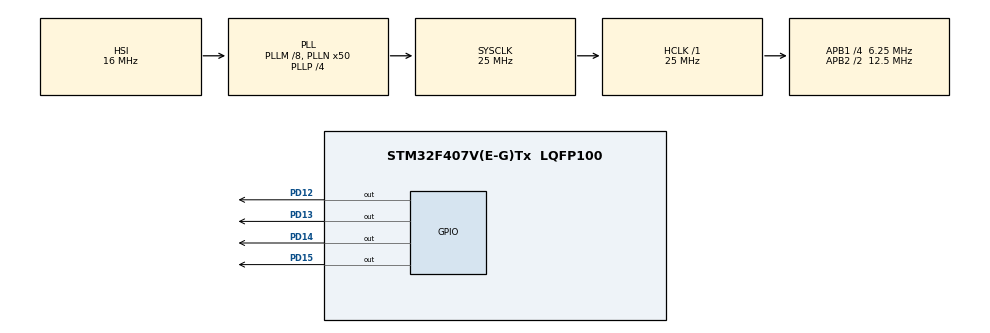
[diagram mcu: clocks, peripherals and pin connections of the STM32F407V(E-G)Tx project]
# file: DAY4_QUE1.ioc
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FREERTOS.INCLUDE_vTaskDelayUntil=1
FREERTOS.Tasks01=defaultTask,-3,128,StartDefaultTask,Default,NULL,Dynamic,NULL,NULL
FREERTOS.configUSE_NEWLIB_REENTRANT=1
Mcu.Family=STM32F4
Mcu.Name=STM32F407V(E-G)Tx
Mcu.Package=LQFP100
NVIC.PriorityGroup=NVIC_PRIORITYGROUP_4
NVIC.TIM1_UP_TIM10_IRQn=true\:15\:0\:false\:false\:true\:false\:false\:true\:true
NVIC.TimeBase=TIM1_UP_TIM10_IRQn
NVIC.TimeBaseIP=TIM1
PD12.Signal=GPIO_Output
PD13.Signal=GPIO_Output
PD14.Signal=GPIO_Output
PD15.Signal=GPIO_Output
ProjectManager.HeapSize=0x200
ProjectManager.StackSize=0x400
ProjectManager.TargetToolchain=STM32CubeIDE
RCC.48MHZClocksFreq_Value=14285714.285714285
RCC.AHBFreq_Value=25000000
RCC.APB1CLKDivider=RCC_HCLK_DIV4
RCC.APB1Freq_Value=6250000
RCC.APB1TimFreq_Value=12500000
RCC.APB2CLKDivider=RCC_HCLK_DIV2
RCC.APB2Freq_Value=12500000
RCC.APB2TimFreq_Value=25000000
RCC.CortexFreq_Value=25000000
RCC.HCLKFreq_Value=25000000
RCC.HSE_VALUE=8000000
RCC.HSI_VALUE=16000000
RCC.LSE_VALUE=32768
RCC.PLLM=8
RCC.PLLN=50
RCC.PLLP=RCC_PLLP_DIV4
RCC.PLLQ=7
RCC.SYSCLKFreq_VALUE=25000000
RCC.SYSCLKSource=RCC_SYSCLKSOURCE_PLLCLK
RCC.VCOOutputFreq_Value=100000000
VP_FREERTOS_VS_CMSIS_V1.Mode=CMSIS_V1
VP_SYS_VS_tim1.Mode=TIM1
board=STM32F407G-DISC1

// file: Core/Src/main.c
/* USER CODE BEGIN Header */
/**
 ******************************************************************************
 * @file           : main.c
 * @brief          : Main program body
 ******************************************************************************
 * @attention
 *
 * Copyright (c) 2024 STMicroelectronics.
 * All rights reserved.
 *
 * This software is licensed under terms that can be found in the LICENSE file
 * in the root directory of this software component.
 * If no LICENSE file comes with this software, it is provided AS-IS.
 *
 ******************************************************************************
 */
/* USER CODE END Header */
#include "main.h"
#include "cmsis_os.h"

osThreadId defaultTaskHandle;

void SystemClock_Config(void);
static void MX_GPIO_Init(void);
void StartDefaultTask(void const * argument);

/* USER CODE BEGIN 0 */

void vLedTask1(void *pvParam){

	while(1){

		HAL_GPIO_TogglePin(GPIOD,GPIO_PIN_12);
		vTaskDelay(1000/portTICK_RATE_MS);

	}
	vTaskDelete(NULL);

}

void vLedTask2(void *pvParam){

	while(1){

		HAL_GPIO_TogglePin(GPIOD,GPIO_PIN_13);
		vTaskDelay(2000/portTICK_RATE_MS);

	}
	vTaskDelete(NULL);

}

void vLedTask3(void *pvParam){

	while(1){

		HAL_GPIO_TogglePin(GPIOD,GPIO_PIN_14);
		vTaskDelay(3000/portTICK_RATE_MS);

	}
	vTaskDelete(NULL);

}

void vLedTask4(void *pvParam){

	while(1){

		HAL_GPIO_TogglePin(GPIOD,GPIO_PIN_15);
		vTaskDelay(4000/portTICK_RATE_MS);

	}
	vTaskDelete(NULL);

}
/* USER CODE END 0 */

int main(void)
{

	/* USER CODE BEGIN 1 */
	BaseType_t xRet;
	/* USER CODE END 1 */

	/* MCU Configuration--------------------------------------------------------*/

	/* Reset of all peripherals, Initializes the Flash interface and the Systick. */
	HAL_Init();

	/* Configure the system clock */
	SystemClock_Config();

	/* Initialize all configured peripherals */
	MX_GPIO_Init();

	/* Create the thread(s) */
	/* definition and creation of defaultTask */
	osThreadDef(defaultTask, StartDefaultTask, osPriorityIdle, 0, 128);
	defaultTaskHandle = osThreadCreate(osThread(defaultTask), NULL);

	/* USER CODE BEGIN RTOS_THREADS */
	/* add threads, ... */

	xRet = xTaskCreate(vLedTask1,"LED 1", configMINIMAL_STACK_SIZE, NULL, 1, NULL);
	if(xRet != pdTRUE)
		Error_Handler();

	xRet = xTaskCreate(vLedTask2,"LED 2", configMINIMAL_STACK_SIZE, NULL, 2, NULL);
	if(xRet != pdTRUE)
		Error_Handler();

	xRet = xTaskCreate(vLedTask3,"LED3", configMINIMAL_STACK_SIZE, NULL, 3, NULL);
	if(xRet != pdTRUE)
		Error_Handler();

	xRet = xTaskCreate(vLedTask4,"LED 4", configMINIMAL_STACK_SIZE, NULL, 1, NULL);
	if(xRet != pdTRUE)
		Error_Handler();
	/* USER CODE END RTOS_THREADS */

	/* Start scheduler */
	osKernelStart();

	/* We should never get here as control is now taken by the scheduler */

	/* Infinite loop */
	while (1)
	{

	}
}

void SystemClock_Config(void)
{
	RCC_OscInitTypeDef RCC_OscInitStruct = {0};
	RCC_ClkInitTypeDef RCC_ClkInitStruct = {0};

	/** Configure the main internal regulator output voltage
	 */
	__HAL_RCC_PWR_CLK_ENABLE();
	__HAL_PWR_VOLTAGESCALING_CONFIG(PWR_REGULATOR_VOLTAGE_SCALE1);

	/** Initializes the RCC Oscillators according to the specified parameters
	 * in the RCC_OscInitTypeDef structure.
	 */
	RCC_OscInitStruct.OscillatorType = RCC_OSCILLATORTYPE_HSI;
	RCC_OscInitStruct.HSIState = RCC_HSI_ON;
	RCC_OscInitStruct.HSICalibrationValue = RCC_HSICALIBRATION_DEFAULT;
	RCC_OscInitStruct.PLL.PLLState = RCC_PLL_ON;
	RCC_OscInitStruct.PLL.PLLSource = RCC_PLLSOURCE_HSI;
	RCC_OscInitStruct.PLL.PLLM = 8;
	RCC_OscInitStruct.PLL.PLLN = 50;
	RCC_OscInitStruct.PLL.PLLP = RCC_PLLP_DIV4;
	RCC_OscInitStruct.PLL.PLLQ = 7;
	if (HAL_RCC_OscConfig(&RCC_OscInitStruct) != HAL_OK)
	{
		Error_Handler();
	}

	/** Initializes the CPU, AHB and APB buses clocks
	 */
	RCC_ClkInitStruct.ClockType = RCC_CLOCKTYPE_HCLK|RCC_CLOCKTYPE_SYSCLK
			|RCC_CLOCKTYPE_PCLK1|RCC_CLOCKTYPE_PCLK2;
	RCC_ClkInitStruct.SYSCLKSource = RCC_SYSCLKSOURCE_PLLCLK;
	RCC_ClkInitStruct.AHBCLKDivider = RCC_SYSCLK_DIV1;
	RCC_ClkInitStruct.APB1CLKDivider = RCC_HCLK_DIV4;
	RCC_ClkInitStruct.APB2CLKDivider = RCC_HCLK_DIV2;

	if (HAL_RCC_ClockConfig(&RCC_ClkInitStruct, FLASH_LATENCY_0) != HAL_OK)
	{
		Error_Handler();
	}
}

static void MX_GPIO_Init(void)
{
	GPIO_InitTypeDef GPIO_InitStruct = {0};

	/* GPIO Ports Clock Enable */
	__HAL_RCC_GPIOD_CLK_ENABLE();

	/*Configure GPIO pin Output Level */
	HAL_GPIO_WritePin(GPIOD, GPIO_PIN_12|GPIO_PIN_13|GPIO_PIN_14|GPIO_PIN_15, GPIO_PIN_RESET);

	/*Configure GPIO pins : PD12 PD13 PD14 PD15 */
	GPIO_InitStruct.Pin = GPIO_PIN_12|GPIO_PIN_13|GPIO_PIN_14|GPIO_PIN_15;
	GPIO_InitStruct.Mode = GPIO_MODE_OUTPUT_PP;
	GPIO_InitStruct.Pull = GPIO_NOPULL;
	GPIO_InitStruct.Speed = GPIO_SPEED_FREQ_LOW;
	HAL_GPIO_Init(GPIOD, &GPIO_InitStruct);

}

void StartDefaultTask(void const * argument)
{
	for(;;)
	{
		osDelay(1);
	}
}

void HAL_TIM_PeriodElapsedCallback(TIM_HandleTypeDef *htim)
{
	if (htim->Instance == TIM1) {
		HAL_IncTick();
	}
}

void Error_Handler(void)
{
	__disable_irq();
	while (1)
	{
	}
}
